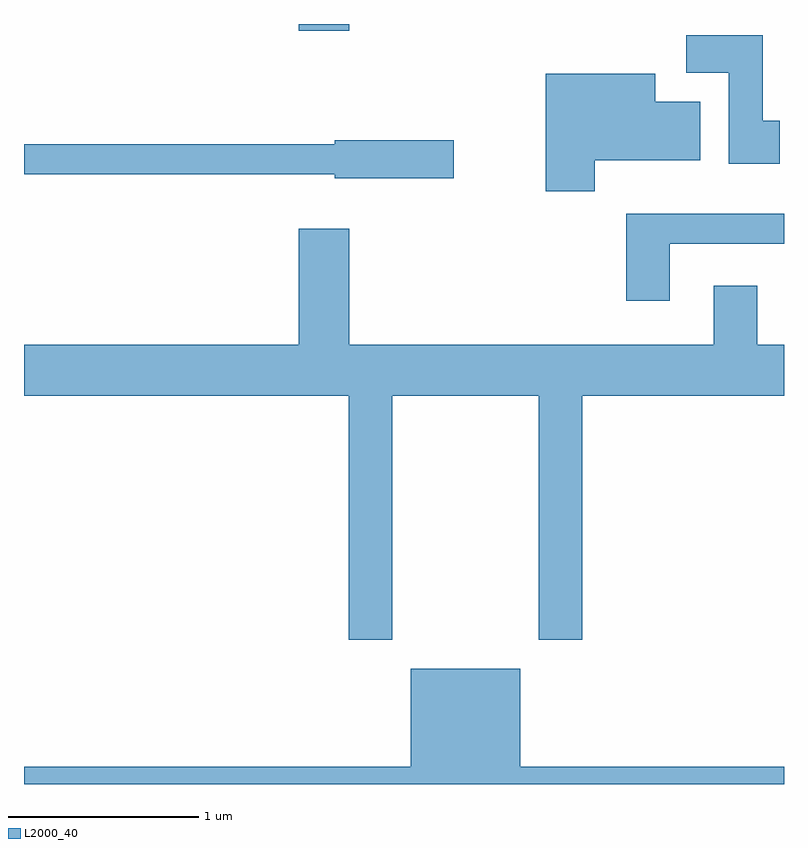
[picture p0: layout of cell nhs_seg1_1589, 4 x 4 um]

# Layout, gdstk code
import gdstk
lib = gdstk.Library(unit=1e-6, precision=1e-09)
def R(c, l, rs):  # rectangles x0, y0, x1, y1
    for r in rs: c.add(gdstk.rectangle(r[:2], r[2:], *l))
def P(c, l, *ps):  # polygons
    for p in ps: c.add(gdstk.Polygon(p, *l))
L2000_40 = (2000, 40)

nhs_seg1_1589 = lib.new_cell('nhs_seg1_1589')
R(nhs_seg1_1589, L2000_40, [(235.056,943.676,235.324,943.712)])
P(nhs_seg1_1589, L2000_40, [(237.589,943.204),(237.499,943.204),(237.499,943.654),(237.096,943.654),(237.096,943.456),(237.321,943.456),(237.321,942.976),(237.589,942.976)],
  [(236.614,942.996),(237.169,942.996),(237.169,943.304),(236.934,943.304),(236.934,943.449),(236.356,943.449),(236.356,942.831),(236.614,942.831)],
  [(235.874,943.099),(235.246,943.099),(235.246,943.079),(233.611,943.079),(233.611,942.921),(235.246,942.921),(235.246,942.901),(235.874,942.901)],
  [(237.009,942.556),(237.611,942.556),(237.611,942.714),(236.781,942.714),(236.781,942.256),(237.009,942.256)],
  [(235.549,941.756),(236.321,941.756),(236.321,940.471),(236.549,940.471),(236.549,941.756),(237.611,941.756),(237.611,942.024),(237.469,942.024),(237.469,942.334),(237.241,942.334),(237.241,942.024),(235.324,942.024),(235.324,942.634),(235.056,942.634),(235.056,942.024),(233.611,942.024),(233.611,941.756),(235.321,941.756),(235.321,940.471),(235.549,940.471)],
  [(235.646,940.319),(235.646,939.804),(233.611,939.804),(233.611,939.712),(237.611,939.712),(237.611,939.804),(236.224,939.804),(236.224,940.319)])

lib.write_gds('nhs_seg1_1589.gds')
